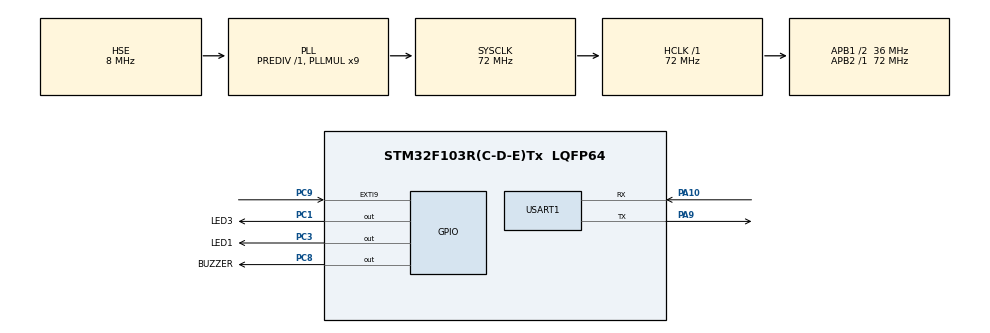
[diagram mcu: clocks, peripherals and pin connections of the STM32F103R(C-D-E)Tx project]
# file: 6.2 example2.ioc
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Mcu.Family=STM32F1
Mcu.Name=STM32F103R(C-D-E)Tx
Mcu.Package=LQFP64
NVIC.EXTI9_5_IRQn=true\:5\:0\:true\:false\:true\:true\:true\:true
NVIC.PriorityGroup=NVIC_PRIORITYGROUP_4
NVIC.TIM6_IRQn=true\:15\:0\:false\:false\:true\:false\:true\:true
NVIC.TimeBase=TIM6_IRQn
NVIC.TimeBaseIP=TIM6
PA10.Mode=Asynchronous
PA10.Signal=USART1_RX
PA13.Mode=Serial_Wire
PA13.Signal=SYS_JTMS-SWDIO
PA14.Mode=Serial_Wire
PA14.Signal=SYS_JTCK-SWCLK
PA9.Mode=Asynchronous
PA9.Signal=USART1_TX
PC1.GPIO_Label=LED3
PC1.Signal=GPIO_Output
PC3.GPIO_Label=LED1
PC3.Signal=GPIO_Output
PC8.GPIO_Label=BUZZER
PC8.Signal=GPIO_Output
PC9.GPIO_ModeDefaultEXTI=GPIO_MODE_IT_RISING
PC9.GPIO_PuPd=GPIO_PULLUP
PC9.Signal=GPXTI9
PD0-OSC_IN.Mode=HSE-External-Oscillator
PD0-OSC_IN.Signal=RCC_OSC_IN
PD1-OSC_OUT.Mode=HSE-External-Oscillator
PD1-OSC_OUT.Signal=RCC_OSC_OUT
ProjectManager.HeapSize=0x200
ProjectManager.StackSize=0x400
ProjectManager.TargetToolchain=STM32CubeIDE
RCC.AHBFreq_Value=72000000
RCC.APB1CLKDivider=RCC_HCLK_DIV2
RCC.APB1Freq_Value=36000000
RCC.APB1TimFreq_Value=72000000
RCC.APB2Freq_Value=72000000
RCC.APB2TimFreq_Value=72000000
RCC.HCLKFreq_Value=72000000
RCC.PLLMUL=RCC_PLL_MUL9
RCC.PLLSourceVirtual=RCC_PLLSOURCE_HSE
RCC.SYSCLKFreq_VALUE=72000000
RCC.SYSCLKSource=RCC_SYSCLKSOURCE_PLLCLK
RCC.USBFreq_Value=72000000
USART1.VirtualMode=VM_ASYNC
VP_SYS_VS_tim6.Mode=TIM6
board=custom

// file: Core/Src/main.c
/* USER CODE BEGIN Header */
/**
  ******************************************************************************
  * @file           : main.c
  * @brief          : Main program body
  ******************************************************************************
  * @attention
  *
  * Copyright (c) 2026 STMicroelectronics.
  * All rights reserved.
  *
  * This software is licensed under terms that can be found in the LICENSE file
  * in the root directory of this software component.
  * If no LICENSE file comes with this software, it is provided AS-IS.
  *
  ******************************************************************************
  */
/* USER CODE END Header */
#include "main.h"

/* USER CODE BEGIN Includes */
#include "FreeRTOS.h"
#include "task.h"
#include "semphr.h"
/* USER CODE END Includes */

UART_HandleTypeDef huart1;

/* USER CODE BEGIN PV */
SemaphoreHandle_t xBuzzerSemphr;
/* USER CODE END PV */

void SystemClock_Config(void);
static void MX_GPIO_Init(void);
static void MX_USART1_UART_Init(void);

/* USER CODE BEGIN 0 */
void vLED1Task(void *pvParameters)
{
	for(;;)
	{
		HAL_GPIO_WritePin(LED1_GPIO_Port, LED1_Pin, GPIO_PIN_SET);
		vTaskDelay(pdMS_TO_TICKS(100));
		HAL_GPIO_WritePin(LED1_GPIO_Port, LED1_Pin, GPIO_PIN_RESET);
		vTaskDelay(pdMS_TO_TICKS(100));
	}
}

void HAL_GPIO_EXTI_Callback(uint16_t GPIO_Pin)
{
	static uint32_t debounceTime = 0;
	BaseType_t xHigherPriorityTaskWoken = pdFALSE;

	uint32_t now = HAL_GetTick();

	if((GPIO_Pin == GPIO_PIN_9) && (now - debounceTime > 10))
	{
		xSemaphoreGiveFromISR(xBuzzerSemphr, &xHigherPriorityTaskWoken);

		debounceTime = now;
	}

	portYIELD_FROM_ISR(xHigherPriorityTaskWoken);
}

void vBuzzerTask(void *pvParameters)
{
	for(;;)
	{
		xSemaphoreTake(xBuzzerSemphr, portMAX_DELAY);

		for(int i=0; i<2; i++)
		{
			HAL_GPIO_WritePin(BUZZER_GPIO_Port, BUZZER_Pin, GPIO_PIN_SET);
			vTaskDelay(pdMS_TO_TICKS(150));
			HAL_GPIO_WritePin(BUZZER_GPIO_Port, BUZZER_Pin, GPIO_PIN_RESET);
			vTaskDelay(pdMS_TO_TICKS(150));
		}
	}
}
/* USER CODE END 0 */

int main(void)
{

  /* MCU Configuration--------------------------------------------------------*/

  /* Reset of all peripherals, Initializes the Flash interface and the Systick. */
  HAL_Init();

  /* Configure the system clock */
  SystemClock_Config();

  /* Initialize all configured peripherals */
  MX_GPIO_Init();
  MX_USART1_UART_Init();
  /* USER CODE BEGIN 2 */

  xBuzzerSemphr = xSemaphoreCreateBinary();

  xTaskCreate(vLED1Task, "LED1", 32, NULL, 1, NULL);
  xTaskCreate(vBuzzerTask, "BUZZER", 32, NULL, 1, NULL);

  vTaskStartScheduler();
  /* USER CODE END 2 */

  /* Infinite loop */
  while (1)
  {

  }
}

void SystemClock_Config(void)
{
  RCC_OscInitTypeDef RCC_OscInitStruct = {0};
  RCC_ClkInitTypeDef RCC_ClkInitStruct = {0};

  /** Initializes the RCC Oscillators according to the specified parameters
  * in the RCC_OscInitTypeDef structure.
  */
  RCC_OscInitStruct.OscillatorType = RCC_OSCILLATORTYPE_HSE;
  RCC_OscInitStruct.HSEState = RCC_HSE_ON;
  RCC_OscInitStruct.HSEPredivValue = RCC_HSE_PREDIV_DIV1;
  RCC_OscInitStruct.HSIState = RCC_HSI_ON;
  RCC_OscInitStruct.PLL.PLLState = RCC_PLL_ON;
  RCC_OscInitStruct.PLL.PLLSource = RCC_PLLSOURCE_HSE;
  RCC_OscInitStruct.PLL.PLLMUL = RCC_PLL_MUL9;
  if (HAL_RCC_OscConfig(&RCC_OscInitStruct) != HAL_OK)
  {
    Error_Handler();
  }

  /** Initializes the CPU, AHB and APB buses clocks
  */
  RCC_ClkInitStruct.ClockType = RCC_CLOCKTYPE_HCLK|RCC_CLOCKTYPE_SYSCLK
                              |RCC_CLOCKTYPE_PCLK1|RCC_CLOCKTYPE_PCLK2;
  RCC_ClkInitStruct.SYSCLKSource = RCC_SYSCLKSOURCE_PLLCLK;
  RCC_ClkInitStruct.AHBCLKDivider = RCC_SYSCLK_DIV1;
  RCC_ClkInitStruct.APB1CLKDivider = RCC_HCLK_DIV2;
  RCC_ClkInitStruct.APB2CLKDivider = RCC_HCLK_DIV1;

  if (HAL_RCC_ClockConfig(&RCC_ClkInitStruct, FLASH_LATENCY_2) != HAL_OK)
  {
    Error_Handler();
  }
}

static void MX_USART1_UART_Init(void)
{

  huart1.Instance = USART1;
  huart1.Init.BaudRate = 115200;
  huart1.Init.WordLength = UART_WORDLENGTH_8B;
  huart1.Init.StopBits = UART_STOPBITS_1;
  huart1.Init.Parity = UART_PARITY_NONE;
  huart1.Init.Mode = UART_MODE_TX_RX;
  huart1.Init.HwFlowCtl = UART_HWCONTROL_NONE;
  huart1.Init.OverSampling = UART_OVERSAMPLING_16;
  if (HAL_UART_Init(&huart1) != HAL_OK)
  {
    Error_Handler();
  }

}

static void MX_GPIO_Init(void)
{
  GPIO_InitTypeDef GPIO_InitStruct = {0};

  /* GPIO Ports Clock Enable */
  __HAL_RCC_GPIOD_CLK_ENABLE();
  __HAL_RCC_GPIOC_CLK_ENABLE();
  __HAL_RCC_GPIOA_CLK_ENABLE();

  /*Configure GPIO pin Output Level */
  HAL_GPIO_WritePin(GPIOC, LED3_Pin|LED1_Pin|BUZZER_Pin, GPIO_PIN_RESET);

  /*Configure GPIO pins : LED3_Pin LED1_Pin BUZZER_Pin */
  GPIO_InitStruct.Pin = LED3_Pin|LED1_Pin|BUZZER_Pin;
  GPIO_InitStruct.Mode = GPIO_MODE_OUTPUT_PP;
  GPIO_InitStruct.Pull = GPIO_NOPULL;
  GPIO_InitStruct.Speed = GPIO_SPEED_FREQ_LOW;
  HAL_GPIO_Init(GPIOC, &GPIO_InitStruct);

  /*Configure GPIO pin : PC9 */
  GPIO_InitStruct.Pin = GPIO_PIN_9;
  GPIO_InitStruct.Mode = GPIO_MODE_IT_RISING;
  GPIO_InitStruct.Pull = GPIO_PULLUP;
  HAL_GPIO_Init(GPIOC, &GPIO_InitStruct);

  /* EXTI interrupt init*/
  HAL_NVIC_SetPriority(EXTI9_5_IRQn, 5, 0);
  HAL_NVIC_EnableIRQ(EXTI9_5_IRQn);

}

void HAL_TIM_PeriodElapsedCallback(TIM_HandleTypeDef *htim)
{
  if (htim->Instance == TIM6)
  {
    HAL_IncTick();
  }
}

void Error_Handler(void)
{
  __disable_irq();
  while (1)
  {
  }
}
